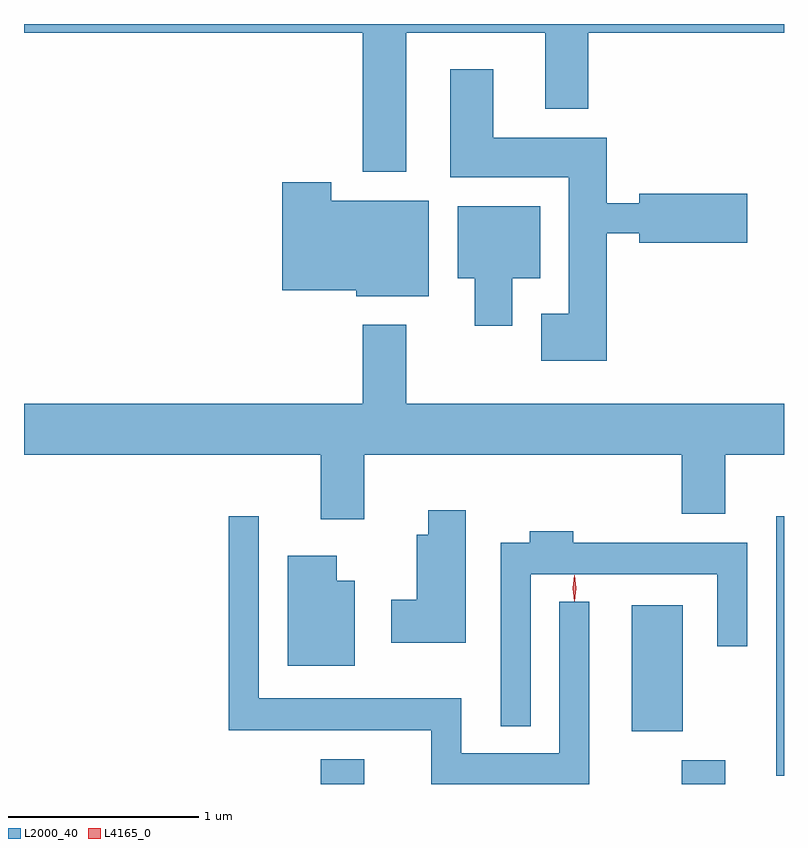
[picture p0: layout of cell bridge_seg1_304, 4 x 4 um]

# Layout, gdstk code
import gdstk
lib = gdstk.Library(unit=1e-6, precision=1e-09)
def R(c, l, rs):  # rectangles x0, y0, x1, y1
    for r in rs: c.add(gdstk.rectangle(r[:2], r[2:], *l))
def P(c, l, *ps):  # polygons
    for p in ps: c.add(gdstk.Polygon(p, *l))
L2000_40 = (2000, 40)
L4165_0 = (4165, 0)

bridge_seg1_304 = lib.new_cell('bridge_seg1_304')
R(bridge_seg1_304, L2000_40, [(870.001,884.523,870.229,884.654), (871.901,884.523,872.129,884.649), (872.396,884.566,872.438,885.933), (871.636,884.801,871.904,885.464)])
P(bridge_seg1_304, L2000_40, [(868.438,888.476),(870.221,888.476),(870.221,887.746),(870.449,887.746),(870.449,888.476),(871.181,888.476),(871.181,888.076),(871.409,888.076),(871.409,888.476),(872.438,888.476),(872.438,888.523),(868.438,888.523)],
  [(871.504,887.421),(871.676,887.421),(871.676,887.371),(872.244,887.371),(872.244,887.629),(871.676,887.629),(871.676,887.579),(871.504,887.579),(871.504,887.924),(870.909,887.924),(870.909,888.284),(870.681,888.284),(870.681,887.716),(871.306,887.716),(871.306,886.999),(871.161,886.999),(871.161,886.751),(871.504,886.751)],
  [(870.569,887.594),(870.054,887.594),(870.054,887.689),(869.796,887.689),(869.796,887.121),(870.186,887.121),(870.186,887.091),(870.569,887.091)],
  [(871.009,887.186),(871.154,887.186),(871.154,887.564),(870.721,887.564),(870.721,887.186),(870.811,887.186),(870.811,886.936),(871.009,886.936)],
  [(870.229,886.256),(871.901,886.256),(871.901,885.946),(872.129,885.946),(872.129,886.256),(872.438,886.256),(872.438,886.524),(870.449,886.524),(870.449,886.939),(870.221,886.939),(870.221,886.524),(868.438,886.524),(868.438,886.256),(870.001,886.256),(870.001,885.916),(870.229,885.916)],
  [(870.764,885.964),(870.566,885.964),(870.566,885.834),(870.506,885.834),(870.506,885.494),(870.371,885.494),(870.371,885.266),(870.764,885.266)],
  [(871.414,885.483),(871.256,885.483),(871.256,884.684),(870.739,884.684),(870.739,884.974),(869.674,884.974),(869.674,885.933),(869.516,885.933),(869.516,884.806),(870.581,884.806),(870.581,884.523),(871.414,884.523)],
  [(871.104,885.626),(872.086,885.626),(872.086,885.248),(872.244,885.248),(872.244,885.794),(871.329,885.794),(871.329,885.854),(871.101,885.854),(871.101,885.794),(870.946,885.794),(870.946,884.828),(871.104,884.828)],
  [(870.179,885.594),(870.084,885.594),(870.084,885.724),(869.826,885.724),(869.826,885.146),(870.179,885.146)])
P(bridge_seg1_304, L4165_0, [(871.335,885.484),(871.335,885.484),(871.325,885.553),(871.335,885.623),(871.335,885.623),(871.336,885.623),(871.345,885.553),(871.336,885.484)])

lib.write_gds('bridge_seg1_304.gds')
